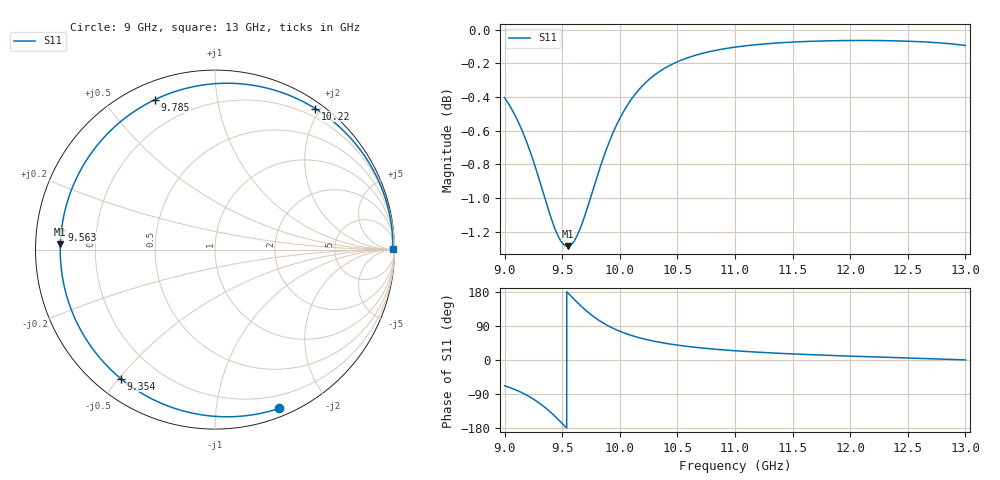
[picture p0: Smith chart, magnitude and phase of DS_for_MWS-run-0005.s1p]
! TOUCHSTONE file generated by CST DESIGN STUDIO
! Date and time: Tue Feb  4 16:07:16 2025
! Project name: C:\Work\MatlabApps\UnitCellOptimizationMatlab\CST\unitcell.cst
! Tree item: Tasks\Sweep1\SPara1\S-Parameters
! Header version: 2024
! Port assignment regex: !\s*Touchstone port\s*([0-9]+)\s*=\s*(CST MWS port|CST DES external port|CST DES block port)\s*(.+)\s* \(\"(.*)\"\)(\s*mode\s*([0-9]+))?.*
! Touchstone port assignment:
! Touchstone port 1 = CST DES external port 1 ("")
# GHz S MA R 50
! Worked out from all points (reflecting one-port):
!   4001 points, 9 GHz to 13 GHz, reference 50 ohm
!   lowest |S11| = -1.3 dB at 9.546 GHz (marker M1), VSWR 13.52, Z = 3.7 + j0.858 ohm
!   phase of S11 starts at -68 deg and turns -292 deg over the sweep
!   S11 on the Smith chart (normalised r, x): 9 GHz: 0.07, -1.48; 9.354 GHz: 0.07, -0.51; 9.563 GHz: 0.07, +0.06; 9.785 GHz: 0.08, +0.67; 10.22 GHz: 0.09, +1.94; 13 GHz: open
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9  0.9544 -68.0
9.036  0.9503 -71.7
9.1  0.9416 -79.3
9.209  0.9225 -95.7
9.285  0.9061 -110.2
9.354  0.89 -126.1
9.423  0.8752 -144.5
9.463  0.8685 -156.2
9.5  0.8642 -167.6
9.546  0.8623 178.0
9.563  0.8625 172.7
9.618  0.867 155.7
9.679  0.877 138.0
9.731  0.888 124.4
9.785  0.9003 111.8
9.831  0.9105 102.3
9.88  0.9206 93.3
10  0.941 75.8
10.106  0.954 64.3
10.224  0.9643 54.5
10.352  0.9721 46.4
10.5  0.9782 39.3
10.721  0.9839 31.4
11  0.988 24.4
11.5  0.9914 16.0
12  0.9925 10.2
12.5  0.992 5.3
13  0.9891 0.3
